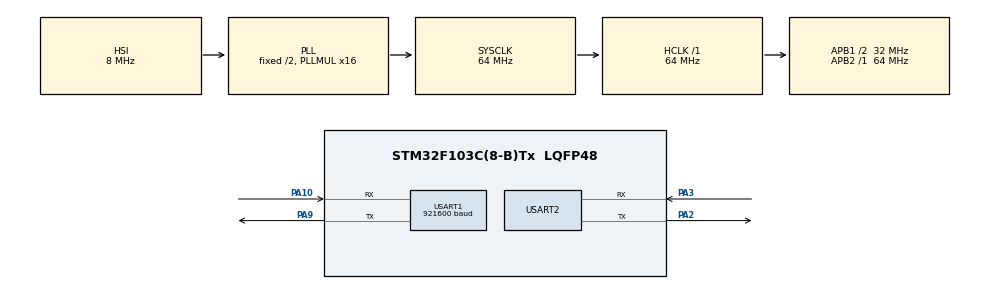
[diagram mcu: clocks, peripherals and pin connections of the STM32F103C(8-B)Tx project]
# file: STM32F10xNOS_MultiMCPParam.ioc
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Dma.Request0=USART2_RX
Dma.USART2_RX.0.Direction=DMA_PERIPH_TO_MEMORY
Dma.USART2_RX.0.Instance=DMA1_Channel6
Dma.USART2_RX.0.MemDataAlignment=DMA_MDATAALIGN_BYTE
Dma.USART2_RX.0.MemInc=DMA_MINC_ENABLE
Dma.USART2_RX.0.Mode=DMA_NORMAL
Dma.USART2_RX.0.PeriphDataAlignment=DMA_PDATAALIGN_BYTE
Dma.USART2_RX.0.PeriphInc=DMA_PINC_DISABLE
Dma.USART2_RX.0.Priority=DMA_PRIORITY_LOW
Mcu.Family=STM32F1
Mcu.Name=STM32F103C(8-B)Tx
Mcu.Package=LQFP48
NVIC.DMA1_Channel6_IRQn=true\:0\:0\:false\:false\:true\:false\:true\:true
NVIC.PriorityGroup=NVIC_PRIORITYGROUP_4
NVIC.USART2_IRQn=true\:0\:0\:false\:false\:true\:true\:true\:true
PA10.Mode=Asynchronous
PA10.Signal=USART1_RX
PA13.Mode=Serial_Wire
PA13.Signal=SYS_JTMS-SWDIO
PA14.Mode=Serial_Wire
PA14.Signal=SYS_JTCK-SWCLK
PA2.Mode=Asynchronous
PA2.Signal=USART2_TX
PA3.Mode=Asynchronous
PA3.Signal=USART2_RX
PA9.Mode=Asynchronous
PA9.Signal=USART1_TX
ProjectManager.HeapSize=0x200
ProjectManager.StackSize=0x400
ProjectManager.TargetToolchain=CMake
RCC.AHBFreq_Value=64000000
RCC.APB1CLKDivider=RCC_HCLK_DIV2
RCC.APB1Freq_Value=32000000
RCC.APB1TimFreq_Value=64000000
RCC.APB2Freq_Value=64000000
RCC.APB2TimFreq_Value=64000000
RCC.HCLKFreq_Value=64000000
RCC.PLLMUL=RCC_PLL_MUL16
RCC.SYSCLKFreq_VALUE=64000000
RCC.SYSCLKSource=RCC_SYSCLKSOURCE_PLLCLK
RCC.USBFreq_Value=64000000
USART1.BaudRate=921600
USART1.VirtualMode=VM_ASYNC
USART2.VirtualMode=VM_ASYNC
board=custom

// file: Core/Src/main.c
/* USER CODE BEGIN Header */
/**
 ******************************************************************************
 * @file           : main.c
 * @brief          : Main program body
 ******************************************************************************
 * @attention
 *
 * Copyright (c) 2025 STMicroelectronics.
 * All rights reserved.
 *
 * This software is licensed under terms that can be found in the LICENSE file
 * in the root directory of this software component.
 * If no LICENSE file comes with this software, it is provided AS-IS.
 *
 ******************************************************************************
 */
/* USER CODE END Header */
#include "main.h"
#include "cJSON.h"
#include "dma.h"
#include "gpio.h"
#include "stm32f1xx_hal_uart.h"
#include "uartPort.h"
#include "usart.h"

/* USER CODE BEGIN Includes */
#include "emMCP.h"
#include <stdint.h>
#include <stdlib.h>
/* USER CODE END Includes */

/* USER CODE BEGIN PD */
#define UART_RXBUFFER_SIZE 256
/* USER CODE END PD */

/* USER CODE BEGIN PM */
uint8_t RxBuffer[UART_RXBUFFER_SIZE] = {0};
emMCP_t emMCP;
emMCP_tool_t rgb; // 创建工具
/* USER CODE END PM */

void SystemClock_Config(void);
/* USER CODE BEGIN PFP */
void HAL_UARTEx_RxEventCallback(UART_HandleTypeDef *huart, uint16_t Size) {
  if (huart == &huart2) {

    uartPortRecvData((char *)RxBuffer, Size);
    HAL_UARTEx_ReceiveToIdle_DMA(huart, RxBuffer, UART_RXBUFFER_SIZE);
    __HAL_DMA_DISABLE_IT(huart->hdmarx, DMA_IT_HT);
  }
}
/* USER CODE END PFP */

/* USER CODE BEGIN 0 */
void emMCP_SetRGBHandler(void *arg) {
    cJSON *param = (cJSON *)arg;
    cJSON *enable = cJSON_GetObjectItemCaseSensitive(param, "enable");
    cJSON *ch_red = cJSON_GetObjectItemCaseSensitive(param, "red");
    cJSON *ch_green = cJSON_GetObjectItemCaseSensitive(param, "green");
    cJSON *ch_blue = cJSON_GetObjectItemCaseSensitive(param, "blue");
    if (enable != NULL) {
        if (cJSON_IsTrue(enable)) {
            log_info("RGB enable is true");
        } else {
            log_info("RGB enable is false");
        }
    }
    if (ch_red != NULL) {
        log_info("RGB red is %d", ch_red->valueint);
    }
    if (ch_green != NULL) {
        log_info("RGB green is %d", ch_green->valueint);
    }
    if (ch_blue != NULL) {
        log_info("RGB blue is %d", ch_blue->valueint);
    }
    // 返回控制结果
    char *result = malloc(128);
    sprintf(result, " {\"%s\":%s,\"%s\":%d,\"%s\":%d,\"%s\":%d}",
            enable->string,
            enable->valueint ? "true" : "false",
            ch_red->string, ch_red->valueint,
            ch_green->string, ch_green->valueint,
            ch_blue->string, ch_blue->valueint);
    emMCP_ResponseValue(result);
    free(result);
}
void emMCP_GetRGBHandler(void *arg) {}
/* USER CODE END 0 */

int main(void) {

  /* MCU
   * Configuration--------------------------------------------------------*/

  /* Reset of all peripherals, Initializes the Flash interface and the
   * Systick.
   */
  HAL_Init();

  /* Configure the system clock */
  SystemClock_Config();

  /* Initialize all configured peripherals */
  MX_GPIO_Init();
  MX_DMA_Init();
  MX_USART1_UART_Init();
  MX_USART2_UART_Init();

  /* USER CODE BEGIN 2 */
  HAL_UARTEx_ReceiveToIdle_DMA(&huart2, RxBuffer, UART_RXBUFFER_SIZE);
  __HAL_DMA_DISABLE_IT(huart2.hdmarx, DMA_IT_HT);

  emMCP_Init(&emMCP);
  // emMCP_SetAiVolume(50);
  emMCP_CheckAiVolume();
  rgb.name = "RGB彩灯";                      // 工具名称，保持唯一性
  rgb.description = "用来控制RGB彩灯的亮灭"; // 工具的功能描述
  rgb.inputSchema.properties[0].name = "enable"; // 属性指令，AI 通过这个指令发送命令
  rgb.inputSchema.properties[0].description = "是否打开RGB彩灯,true表示打开，false表示关闭查询时为null"; // 指令描述，AI 通过这个描述理解指令
  rgb.inputSchema.properties[0].type = MCP_SERVER_TOOL_TYPE_BOOLEAN; // 指令类型，AI通过这个类型发送相对应的数据
  rgb.inputSchema.properties[1].name = "red"; // 属性指令，AI 通过这个指令发送命令
  rgb.inputSchema.properties[1].description = "RGB彩灯的红色,范围0-255,查询时为null"; // 指令描述，AI通过这个描述理解指令
  rgb.inputSchema.properties[1].type = MCP_SERVER_TOOL_TYPE_NUMBER; // 指令类型，AI通过这个类型发送相对应的数据
  rgb.inputSchema.properties[2].name = "green"; // 属性指令，AI 通过这个指令发送命令
  rgb.inputSchema.properties[2].description = "RGB彩灯的绿色,范围0-255,查询时为null"; // 指令描述，AI通过这个描述理解指令
  rgb.inputSchema.properties[2].type = MCP_SERVER_TOOL_TYPE_NUMBER; // 指令类型，AI通过这个类型发送相对应的数据
  rgb.inputSchema.properties[3].name = "blue"; // 属性指令，AI 通过这个指令发送命令
  rgb.inputSchema.properties[3].description = "RGB彩灯的蓝色,范围0-255,查询时为null"; // 指令描述，AI通过这个描述理解指令
  rgb.inputSchema.properties[3].type = MCP_SERVER_TOOL_TYPE_NUMBER; // 指令类型，AI通过这个类型发送相对应的数据
  rgb.setRequestHandler = emMCP_SetRGBHandler;   // 设置控制回调
  rgb.checkRequestHandler = emMCP_GetRGBHandler; // 设置查询回调

  emMCP_AddToolToToolList(&rgb); // 添加工具到工具列表
  emMCP_RegistrationTools();     // 注册工具到小安AI
  /* USER CODE END 2 */

  /* Infinite loop */
  while (1) {
    emMCP_TickHandle(10);
  }
}

void SystemClock_Config(void) {
  RCC_OscInitTypeDef RCC_OscInitStruct = {0};
  RCC_ClkInitTypeDef RCC_ClkInitStruct = {0};

  /** Initializes the RCC Oscillators according to the specified parameters
   * in the RCC_OscInitTypeDef structure.
   */
  RCC_OscInitStruct.OscillatorType = RCC_OSCILLATORTYPE_HSI;
  RCC_OscInitStruct.HSIState = RCC_HSI_ON;
  RCC_OscInitStruct.HSICalibrationValue = RCC_HSICALIBRATION_DEFAULT;
  RCC_OscInitStruct.PLL.PLLState = RCC_PLL_ON;
  RCC_OscInitStruct.PLL.PLLSource = RCC_PLLSOURCE_HSI_DIV2;
  RCC_OscInitStruct.PLL.PLLMUL = RCC_PLL_MUL16;
  if (HAL_RCC_OscConfig(&RCC_OscInitStruct) != HAL_OK) {
    Error_Handler();
  }

  /** Initializes the CPU, AHB and APB buses clocks
   */
  RCC_ClkInitStruct.ClockType = RCC_CLOCKTYPE_HCLK | RCC_CLOCKTYPE_SYSCLK |
                                RCC_CLOCKTYPE_PCLK1 | RCC_CLOCKTYPE_PCLK2;
  RCC_ClkInitStruct.SYSCLKSource = RCC_SYSCLKSOURCE_PLLCLK;
  RCC_ClkInitStruct.AHBCLKDivider = RCC_SYSCLK_DIV1;
  RCC_ClkInitStruct.APB1CLKDivider = RCC_HCLK_DIV2;
  RCC_ClkInitStruct.APB2CLKDivider = RCC_HCLK_DIV1;

  if (HAL_RCC_ClockConfig(&RCC_ClkInitStruct, FLASH_LATENCY_2) != HAL_OK) {
    Error_Handler();
  }
}

void Error_Handler(void) {
  /* USER CODE BEGIN Error_Handler_Debug */
  /* User can add his own implementation to report the HAL error return state
   */
  __disable_irq();
  while (1) {
  }
  /* USER CODE END Error_Handler_Debug */
}
#ifdef USE_FULL_ASSERT
/**
 * @brief  Reports the name of the source file and the source line number
 *         where the assert_param error has occurred.
 * @param  file: pointer to the source file name
 * @param  line: assert_param error line source number
 * @retval None
 */
void assert_failed(uint8_t *file, uint32_t line) {
  /* USER CODE BEGIN 6 */
  /* User can add his own implementation to report the file name and line
     number, ex: printf("Wrong parameters value: file %s on line %d\r\n",
     file, line) */
  /* USER CODE END 6 */
}
#endif /* USE_FULL_ASSERT */
